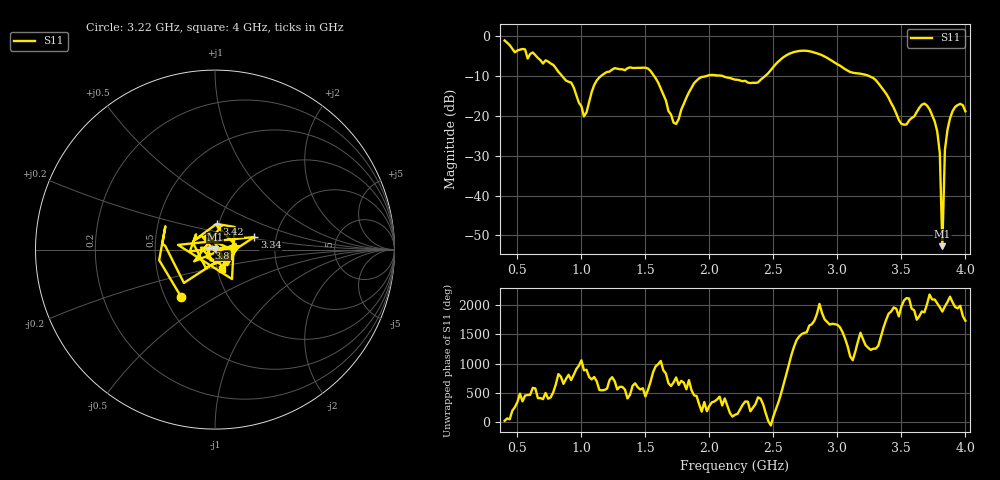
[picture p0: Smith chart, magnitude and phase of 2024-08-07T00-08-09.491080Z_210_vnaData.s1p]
!Created with skrf (http://scikit-rf.org).
# Hz S RI R 50.0
!freq ReS11 ImS11
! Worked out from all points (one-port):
!   181 points, 400 MHz to 4 GHz, reference 50 ohm
!   lowest |S11| = -52.7 dB at 3.82 GHz (marker M1), VSWR 1.00, Z = 50 + j0.232 ohm
!   |S11| at or under -10 dB: 1.566 GHz to 1.987 GHz (420.9 MHz wide, 23.7 % of centre); 2.09 GHz to 2.439 GHz (349.5 MHz wide, 15.4 % of centre); 3.241 GHz to end of sweep (the widest 3 of 4)
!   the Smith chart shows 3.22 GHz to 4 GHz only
!   S11 on the Smith chart (normalised r, x): 3.22 GHz: 0.60, -0.36; 3.34 GHz: 1.54, +0.23; 3.42 GHz: 0.98, +0.29; 3.8 GHz: 0.94, +0.02; 4 GHz: 1.06, -0.23
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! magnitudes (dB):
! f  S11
! 400 MHz  -1.2
! 860 MHz  -10.5
! 940 MHz  -13.0
! 1.02 GHz  -20.2
! 1.12 GHz  -11.2
! 1.3 GHz  -8.4
! 1.52 GHz  -8.2
! 1.6 GHz  -11.8
! 1.72 GHz  -21.8
! 1.76 GHz  -20.9
! 1.92 GHz  -10.7
! 2.2 GHz  -11.0
! 2.38 GHz  -11.7
! 2.66 GHz  -4.1
! 3.1 GHz  -9.1
! 3.22 GHz  -9.8
! 3.34 GHz  -12.8
! 3.42 GHz  -16.9
! 3.5 GHz  -22.1
! 3.56 GHz  -21.2
! 3.7 GHz  -17.5
! 3.76 GHz  -21.4
! 3.8 GHz  -29.3
! 3.82 GHz  -52.7
! 3.84 GHz  -28.6
! 3.86 GHz  -23.6
! 3.92 GHz  -17.8
! 4 GHz  -18.9
